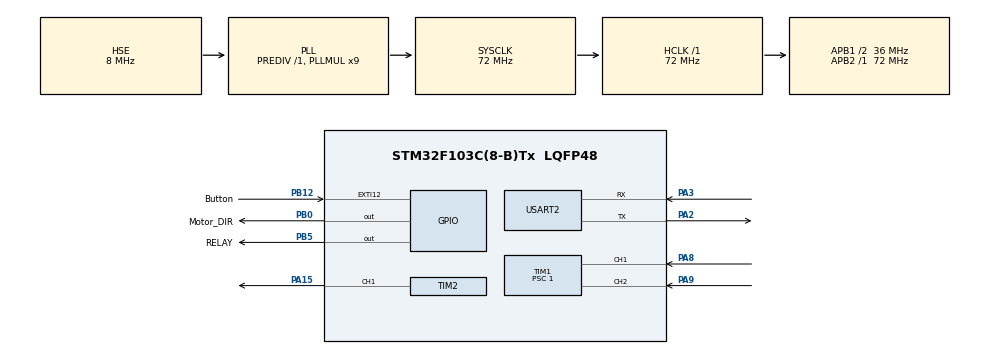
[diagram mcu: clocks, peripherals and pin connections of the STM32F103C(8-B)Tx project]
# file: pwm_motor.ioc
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Dma.Request0=USART2_TX
Dma.USART2_TX.0.Direction=DMA_MEMORY_TO_PERIPH
Dma.USART2_TX.0.Instance=DMA1_Channel7
Dma.USART2_TX.0.MemDataAlignment=DMA_MDATAALIGN_BYTE
Dma.USART2_TX.0.MemInc=DMA_MINC_ENABLE
Dma.USART2_TX.0.Mode=DMA_NORMAL
Dma.USART2_TX.0.PeriphDataAlignment=DMA_PDATAALIGN_BYTE
Dma.USART2_TX.0.PeriphInc=DMA_PINC_DISABLE
Dma.USART2_TX.0.Priority=DMA_PRIORITY_LOW
Mcu.Family=STM32F1
Mcu.Name=STM32F103C(8-B)Tx
Mcu.Package=LQFP48
NVIC.DMA1_Channel7_IRQn=true\:0\:0\:false\:false\:true\:false\:true\:true
NVIC.EXTI15_10_IRQn=true\:0\:0\:false\:false\:true\:true\:true\:true
NVIC.PriorityGroup=NVIC_PRIORITYGROUP_4
NVIC.TIM3_IRQn=true\:0\:0\:true\:false\:true\:true\:true\:true
NVIC.TIM4_IRQn=true\:0\:0\:false\:false\:true\:true\:true\:true
NVIC.USART2_IRQn=true\:0\:0\:false\:false\:true\:true\:true\:true
PA13.Mode=Serial_Wire
PA13.Signal=SYS_JTMS-SWDIO
PA14.Mode=Serial_Wire
PA14.Signal=SYS_JTCK-SWCLK
PA15.Signal=S_TIM2_CH1_ETR
PA2.Mode=Asynchronous
PA2.Signal=USART2_TX
PA3.Mode=Asynchronous
PA3.Signal=USART2_RX
PA8.Signal=S_TIM1_CH1
PA9.Signal=S_TIM1_CH2
PB0.GPIO_Label=Motor_DIR
PB0.Signal=GPIO_Output
PB12.GPIO_Label=Button
PB12.GPIO_ModeDefaultEXTI=GPIO_MODE_IT_FALLING
PB12.Signal=GPXTI12
PB5.GPIO_Label=RELAY
PB5.Signal=GPIO_Output
PD0-OSC_IN.Mode=HSE-External-Oscillator
PD0-OSC_IN.Signal=RCC_OSC_IN
PD1-OSC_OUT.Mode=HSE-External-Oscillator
PD1-OSC_OUT.Signal=RCC_OSC_OUT
ProjectManager.HeapSize=0x200
ProjectManager.StackSize=0x400
ProjectManager.TargetToolchain=CMake
RCC.AHBFreq_Value=72000000
RCC.APB1CLKDivider=RCC_HCLK_DIV2
RCC.APB1Freq_Value=36000000
RCC.APB1TimFreq_Value=72000000
RCC.APB2Freq_Value=72000000
RCC.APB2TimFreq_Value=72000000
RCC.HCLKFreq_Value=72000000
RCC.PLLMUL=RCC_PLL_MUL9
RCC.PLLSourceVirtual=RCC_PLLSOURCE_HSE
RCC.SYSCLKFreq_VALUE=72000000
RCC.SYSCLKSource=RCC_SYSCLKSOURCE_PLLCLK
RCC.USBFreq_Value=72000000
SH.S_TIM1_CH1.0=TIM1_CH1,Encoder_Interface
SH.S_TIM1_CH2.0=TIM1_CH2,Encoder_Interface
SH.S_TIM2_CH1_ETR.0=TIM2_CH1,PWM Generation1 CH1
TIM1.EncoderMode=TIM_ENCODERMODE_TI1
TIM1.IC1Filter=15
TIM1.IC1Polarity=TIM_ICPOLARITY_FALLING
TIM1.IC1Prescaler=TIM_ICPSC_DIV1
TIM1.IC2Filter=15
TIM1.IC2Prescaler=TIM_ICPSC_DIV1
TIM1.Prescaler=1
TIM2.Channel-PWM\ Generation1\ CH1=TIM_CHANNEL_1
TIM2.Period=99
TIM2.Prescaler=71
TIM2.Pulse-PWM\ Generation1\ CH1=50
TIM3.AutoReloadPreload=TIM_AUTORELOAD_PRELOAD_ENABLE
TIM3.Period=9999
TIM3.Prescaler=7199
TIM4.Period=999
TIM4.Prescaler=7199
USART2.VirtualMode=VM_ASYNC
VP_TIM2_VS_ClockSourceINT.Mode=Internal
VP_TIM3_VS_ClockSourceINT.Mode=Internal
VP_TIM4_VS_ClockSourceINT.Mode=Internal
board=custom

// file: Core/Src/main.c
/* USER CODE BEGIN Header */
/**
 ******************************************************************************
 * @file           : main.c
 * @brief          : Main program body
 ******************************************************************************
 * @attention
 *
 * Copyright (c) 2025 STMicroelectronics.
 * All rights reserved.
 *
 * This software is licensed under terms that can be found in the LICENSE file
 * in the root directory of this software component.
 * If no LICENSE file comes with this software, it is provided AS-IS.
 *
 ******************************************************************************
 */
/* USER CODE END Header */
#include "main.h"
#include "dma.h"
#include "tim.h"
#include "usart.h"
#include "gpio.h"

/* USER CODE BEGIN Includes */
#include <stdio.h>
#include <stdlib.h>
#include <string.h>

/* USER CODE END Includes */

/* USER CODE BEGIN PTD */
typedef struct get_speed_value {
  int last_encoder_value;
  int reg_dir;
} get_speed_value;
typedef struct motorState {
  int encoder_value;
  double encoder_angle;
  double wheel_angle;
  double wheel_speed;
} motorState;
/* USER CODE END PTD */

/* USER CODE BEGIN PD */
#define GEAR_ENCODER 30
#define GEAR_WHEEL 68
#define GEAR_MOTOR 16
#define SPEED_TIME 100 // ms
/* USER CODE END PD */

/* USER CODE BEGIN PM */
int pwm = 0;
/* USER CODE END PM */
static rspeed;

/* USER CODE BEGIN PV */

get_speed_value motorValue1;
static motorState motor1;
static int i = 20,j=0;
/* USER CODE END PV */

void SystemClock_Config(void);
/* USER CODE BEGIN PFP */
double getSpeed(void);
/* USER CODE END PFP */

int main(void)
{

  /* USER CODE BEGIN 1 */
  motorValue1.last_encoder_value = 0;
  motorValue1.reg_dir = 0;
  /* USER CODE END 1 */

  /* MCU Configuration--------------------------------------------------------*/

  /* Reset of all peripherals, Initializes the Flash interface and the Systick. */
  HAL_Init();

  /* Configure the system clock */
  SystemClock_Config();

  /* Initialize all configured peripherals */
  MX_GPIO_Init();
  MX_DMA_Init();
  MX_TIM2_Init();
  MX_TIM1_Init();
  MX_USART2_UART_Init();
  MX_TIM3_Init();
  MX_TIM4_Init();
  /* USER CODE BEGIN 2 */
  __HAL_TIM_SET_COMPARE(&htim2, TIM_CHANNEL_1, pwm);
  HAL_TIM_PWM_Start(&htim2, TIM_CHANNEL_1);
  HAL_TIM_Encoder_Start(&htim1, TIM_CHANNEL_ALL);

  HAL_TIM_Base_Start_IT(&htim3);
  HAL_TIM_Base_Start_IT(&htim4);
  __HAL_TIM_SET_AUTORELOAD(&htim3, SPEED_TIME * 10);
  /* USER CODE END 2 */

  /* Infinite loop */
  /* USER CODE BEGIN WHILE */

  while (1) {
    //__HAL_TIM_SET_COMPARE(&htim2, TIM_CHANNEL_1, 40);
    // for (; i < 50; i++) {
    //   __HAL_TIM_SET_COMPARE(&htim2, TIM_CHANNEL_1, i);
    //   HAL_Delay(50);
    // }

    // for (; i >= 20; i--) {
    //   __HAL_TIM_SET_COMPARE(&htim2, TIM_CHANNEL_1, i);
    //   HAL_Delay(50);
    // }
    /* USER CODE END WHILE */

  }
}

void SystemClock_Config(void)
{
  RCC_OscInitTypeDef RCC_OscInitStruct = {0};
  RCC_ClkInitTypeDef RCC_ClkInitStruct = {0};

  /** Initializes the RCC Oscillators according to the specified parameters
  * in the RCC_OscInitTypeDef structure.
  */
  RCC_OscInitStruct.OscillatorType = RCC_OSCILLATORTYPE_HSE;
  RCC_OscInitStruct.HSEState = RCC_HSE_ON;
  RCC_OscInitStruct.HSEPredivValue = RCC_HSE_PREDIV_DIV1;
  RCC_OscInitStruct.HSIState = RCC_HSI_ON;
  RCC_OscInitStruct.PLL.PLLState = RCC_PLL_ON;
  RCC_OscInitStruct.PLL.PLLSource = RCC_PLLSOURCE_HSE;
  RCC_OscInitStruct.PLL.PLLMUL = RCC_PLL_MUL9;
  if (HAL_RCC_OscConfig(&RCC_OscInitStruct) != HAL_OK)
  {
    Error_Handler();
  }

  /** Initializes the CPU, AHB and APB buses clocks
  */
  RCC_ClkInitStruct.ClockType = RCC_CLOCKTYPE_HCLK|RCC_CLOCKTYPE_SYSCLK
                              |RCC_CLOCKTYPE_PCLK1|RCC_CLOCKTYPE_PCLK2;
  RCC_ClkInitStruct.SYSCLKSource = RCC_SYSCLKSOURCE_PLLCLK;
  RCC_ClkInitStruct.AHBCLKDivider = RCC_SYSCLK_DIV1;
  RCC_ClkInitStruct.APB1CLKDivider = RCC_HCLK_DIV2;
  RCC_ClkInitStruct.APB2CLKDivider = RCC_HCLK_DIV1;

  if (HAL_RCC_ClockConfig(&RCC_ClkInitStruct, FLASH_LATENCY_2) != HAL_OK)
  {
    Error_Handler();
  }
}

/* USER CODE BEGIN 4 */
void HAL_TIM_PeriodElapsedCallback(TIM_HandleTypeDef *htim) {
  if (htim == &htim3){
    motor1.wheel_speed = getSpeed();
  }else if(htim==&htim4){
    if(i>20&&i<50){
      if(j==0){
        i++;
      }else{
        i--;
      }
    }else{
      if(i<=20){
        i=21;
        j=0;
      }else{
        i=49;
        j=1;
      }
    }
    __HAL_TIM_SET_COMPARE(&htim2, TIM_CHANNEL_1, i);
    HAL_GPIO_TogglePin(RELAY_GPIO_Port, RELAY_Pin);
  }
  //
}
double getSpeed(void) {
  // double speed=0;
  int encoder_now = __HAL_TIM_GET_COUNTER(&htim1);

  int encoder_last = motorValue1.last_encoder_value;
  int length = abs(encoder_now - encoder_last);
  if (encoder_now >= encoder_last) {
    if (length >= 32768) {
      motorValue1.reg_dir = -1;
      length = encoder_last + 65536 - encoder_now;
    } else {
      motorValue1.reg_dir = 1;
    }
  } else {
    if (length < 32768) {
      motorValue1.reg_dir = -1;
    } else {
      motorValue1.reg_dir = 1;
      length = encoder_now + 65536 - encoder_last;
    }
  }
  motorValue1.last_encoder_value = encoder_now;

  char message[100];
  // motor1.encoder_angle = (double)(encoder_now % 1024) * 0.3515625;
  // motor1.wheel_angle =
  //     ((double)encoder_now / 1024.0) * 360 * GEAR_ENCODER / GEAR_WHEEL;
  // motor1.wheel_angle =
  //     motor1.wheel_angle - (int)(motor1.wheel_angle / 360) * 360;

  double speed =
      (double)length * 1000 / 1024.0 * GEAR_ENCODER / GEAR_WHEEL / SPEED_TIME;
  sprintf(message, "%f,%d,%d,%d,%d\n ", speed, encoder_now, encoder_last, length,i);
  HAL_UART_Transmit_DMA(&huart2, (uint8_t *)message, strlen(message));
  // char message[100];
  // sprintf(message,"%d\n ",encoder_now);
  // HAL_UART_Transmit_IT(&huart2, (uint8_t *)message, strlen(message));
  rspeed=speed;
  return speed;
}

/* USER CODE END 4 */

void Error_Handler(void)
{
  __disable_irq();
  while (1) {
  }
}
#ifdef USE_FULL_ASSERT
/**
  * @brief  Reports the name of the source file and the source line number
  *         where the assert_param error has occurred.
  * @param  file: pointer to the source file name
  * @param  line: assert_param error line source number
  * @retval None
  */
void assert_failed(uint8_t *file, uint32_t line)
{
  /* USER CODE BEGIN 6 */
  /* User can add his own implementation to report the file name and line
     number, ex: printf("Wrong parameters value: file %s on line %d\r\n", file,
     line) */
  /* USER CODE END 6 */
}
#endif /* USE_FULL_ASSERT */
